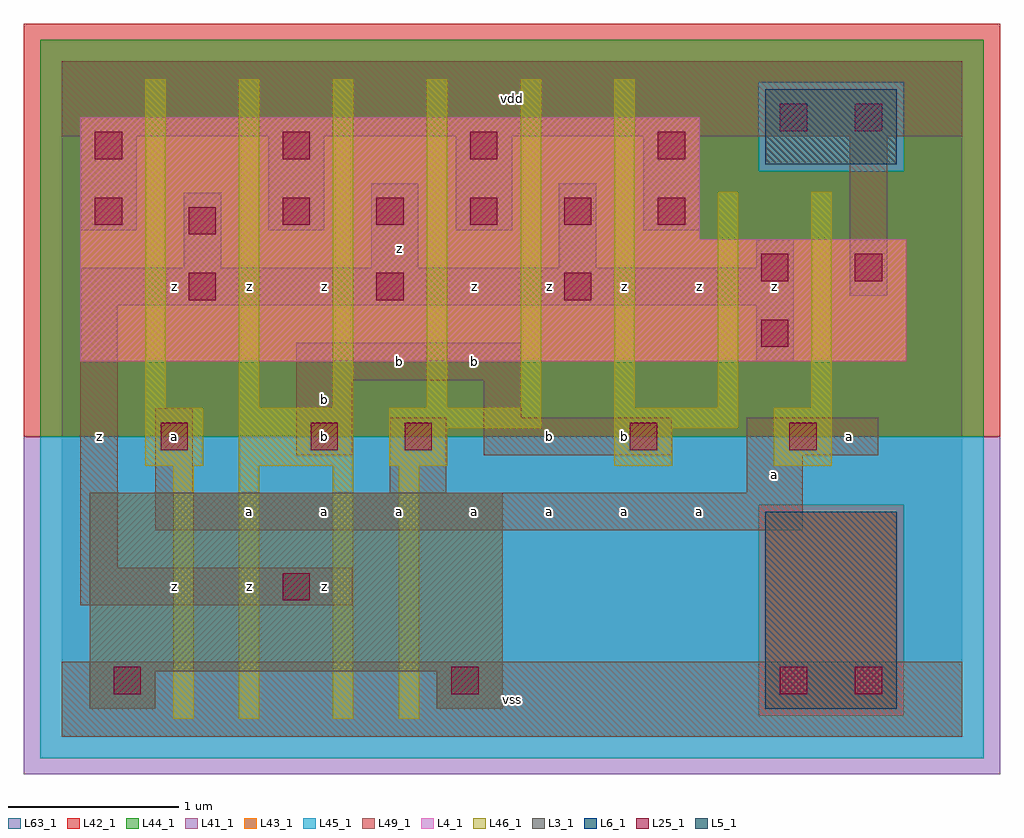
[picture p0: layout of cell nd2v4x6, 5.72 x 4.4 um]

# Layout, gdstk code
import gdstk
lib = gdstk.Library(unit=1e-6, precision=1e-09)
def R(c, l, rs):  # rectangles x0, y0, x1, y1
    for r in rs: c.add(gdstk.rectangle(r[:2], r[2:], *l))
def A(c, l, x, y, w, h, nx, ny, dx, dy):  # array of equal rectangles
    R(c, l, [(x+i*dx, y+j*dy, x+i*dx+w, y+j*dy+h) for i in range(nx) for j in range(ny)])
L3_1 = (3, 1)
L4_1 = (4, 1)
L5_1 = (5, 1)
L6_1 = (6, 1)
L25_1 = (25, 1)
L41_1 = (41, 1)
L42_1 = (42, 1)
L43_1 = (43, 1)
L44_1 = (44, 1)
L45_1 = (45, 1)
L46_1 = (46, 1)
L49_1 = (49, 1)
L63_1 = (63, 1)

nd2v4x6 = lib.new_cell('nd2v4x6')
R(nd2v4x6, L3_1, [(0.165,0.165,0.55,0.385), (2.2,0.165,2.585,0.385), (0.165,0.385,2.585,1.43)])
R(nd2v4x6, L4_1, [(0.11,2.2,4.95,2.915), (0.11,2.915,3.74,3.63)])
R(nd2v4x6, L5_1, [(4.125,3.355,4.895,3.795)])
R(nd2v4x6, L6_1, [(4.125,0.165,4.895,1.32)])
A(nd2v4x6, L25_1, 0.745, 2.56, 0.16, 0.16, 3, 1, 1.1, 0)
A(nd2v4x6, L25_1, 1.295, 3, 0.16, 0.16, 5, 1, 0.55, 0)
A(nd2v4x6, L25_1, 0.195, 3.385, 0.16, 0.16, 4, 1, 1.1, 0)
R(nd2v4x6, L25_1, [(0.305,0.25,0.465,0.41), (2.285,0.25,2.445,0.41), (4.21,0.25,4.37,0.41), (4.65,0.25,4.81,0.41), (1.295,0.8,1.455,0.96), (0.58,1.68,0.74,1.84), (1.46,1.68,1.62,1.84), (2.01,1.68,2.17,1.84), (3.33,1.68,3.49,1.84), (4.265,1.68,4.425,1.84), (4.1,2.285,4.26,2.445), (4.1,2.67,4.26,2.83), (4.65,2.67,4.81,2.83), (0.745,2.945,0.905,3.105), (0.195,3,0.355,3.16), (4.21,3.55,4.37,3.71), (4.65,3.55,4.81,3.71)])
R(nd2v4x6, L41_1, [(-0.22,-0.22,5.5,1.76)])
R(nd2v4x6, L42_1, [(-0.22,1.76,5.5,4.18)])
R(nd2v4x6, L43_1, [(0.165,0.165,0.55,0.385), (2.2,0.165,2.585,0.385), (4.125,0.165,4.895,1.32), (0.165,0.385,2.585,1.43), (0.11,2.2,4.95,2.915), (0.11,2.915,3.74,3.63), (4.125,3.355,4.895,3.795)])
R(nd2v4x6, L44_1, [(4.085,0.125,4.935,1.36), (-0.125,1.76,5.405,3.315), (-0.125,3.315,4.085,3.835), (4.935,3.315,5.405,3.835), (-0.125,3.835,5.405,4.085)])
R(nd2v4x6, L45_1, [(-0.125,-0.125,5.405,0.125), (-0.125,0.125,4.085,1.36), (4.935,0.125,5.405,1.36), (-0.125,1.36,5.405,1.76), (4.085,3.315,4.935,3.835)])
A(nd2v4x6, L46_1, 0.49, 1.93, 0.12, 1.925, 6, 1, 0.55, 0)
R(nd2v4x6, L46_1, [(0.655,0.105,0.775,1.59), (1.04,0.105,1.16,1.59), (1.59,0.105,1.71,1.59), (1.975,0.105,2.095,1.59), (0.49,1.59,0.83,1.93), (1.04,1.59,1.71,1.93), (1.92,1.59,2.26,1.81), (3.24,1.59,3.58,1.81), (4.175,1.59,4.515,1.93), (1.92,1.81,2.81,1.93), (3.24,1.81,3.965,1.93), (3.845,1.93,3.965,3.195), (4.395,1.93,4.515,3.195)])
A(nd2v4x6, L49_1, 0.11, 2.97, 0.33, 0.55, 4, 1, 1.1, 0)
R(nd2v4x6, L49_1, [(0,0,5.28,0.44), (0.11,0.77,1.705,0.99), (0.11,0.99,0.33,2.53), (0.55,1.21,4.345,1.43), (0.55,1.43,0.77,1.925), (1.925,1.43,2.255,1.87), (4.015,1.43,4.345,1.65), (1.375,1.65,1.705,2.09), (2.475,1.65,3.575,1.87), (4.015,1.65,4.785,1.87), (2.475,1.87,2.695,2.09), (1.375,2.09,2.695,2.31), (4.07,2.2,4.29,2.53), (0.11,2.53,4.29,2.75), (4.62,2.585,4.84,3.52), (0.715,2.75,0.935,3.19), (1.815,2.75,2.09,3.245), (2.915,2.75,3.135,3.245), (4.07,2.75,4.29,2.915), (0,3.52,5.28,3.96)])
R(nd2v4x6, L63_1, [(0,0,5.28,3.96)])
nd2v4x6.add(gdstk.Label('z', (0.66,0.88), layer=49, texttype=1))
nd2v4x6.add(gdstk.Label('a', (0.66,1.76), layer=49, texttype=1))
nd2v4x6.add(gdstk.Label('z', (0.22,1.76), layer=49, texttype=1))
nd2v4x6.add(gdstk.Label('z', (0.66,2.64), layer=49, texttype=1))
nd2v4x6.add(gdstk.Label('z', (1.54,0.88), layer=49, texttype=1))
nd2v4x6.add(gdstk.Label('z', (1.1,0.88), layer=49, texttype=1))
nd2v4x6.add(gdstk.Label('a', (1.1,1.32), layer=49, texttype=1))
nd2v4x6.add(gdstk.Label('a', (1.54,1.32), layer=49, texttype=1))
nd2v4x6.add(gdstk.Label('b', (1.54,1.76), layer=49, texttype=1))
nd2v4x6.add(gdstk.Label('b', (1.54,1.98), layer=49, texttype=1))
nd2v4x6.add(gdstk.Label('z', (1.1,2.64), layer=49, texttype=1))
nd2v4x6.add(gdstk.Label('z', (1.54,2.64), layer=49, texttype=1))
nd2v4x6.add(gdstk.Label('vss', (2.64,0.22), layer=49, texttype=1))
nd2v4x6.add(gdstk.Label('a', (1.98,1.32), layer=49, texttype=1))
nd2v4x6.add(gdstk.Label('a', (2.42,1.32), layer=49, texttype=1))
nd2v4x6.add(gdstk.Label('a', (2.86,1.32), layer=49, texttype=1))
nd2v4x6.add(gdstk.Label('b', (2.86,1.76), layer=49, texttype=1))
nd2v4x6.add(gdstk.Label('b', (1.98,2.2), layer=49, texttype=1))
nd2v4x6.add(gdstk.Label('b', (2.42,2.2), layer=49, texttype=1))
nd2v4x6.add(gdstk.Label('z', (1.98,2.86), layer=49, texttype=1))
nd2v4x6.add(gdstk.Label('z', (2.42,2.64), layer=49, texttype=1))
nd2v4x6.add(gdstk.Label('z', (2.86,2.64), layer=49, texttype=1))
nd2v4x6.add(gdstk.Label('vdd', (2.64,3.74), layer=49, texttype=1))
nd2v4x6.add(gdstk.Label('a', (3.3,1.32), layer=49, texttype=1))
nd2v4x6.add(gdstk.Label('a', (3.74,1.32), layer=49, texttype=1))
nd2v4x6.add(gdstk.Label('a', (4.18,1.54), layer=49, texttype=1))
nd2v4x6.add(gdstk.Label('b', (3.3,1.76), layer=49, texttype=1))
nd2v4x6.add(gdstk.Label('z', (3.3,2.64), layer=49, texttype=1))
nd2v4x6.add(gdstk.Label('z', (3.74,2.64), layer=49, texttype=1))
nd2v4x6.add(gdstk.Label('z', (4.18,2.64), layer=49, texttype=1))
nd2v4x6.add(gdstk.Label('a', (4.62,1.76), layer=49, texttype=1))

lib.write_gds('nd2v4x6.gds')
